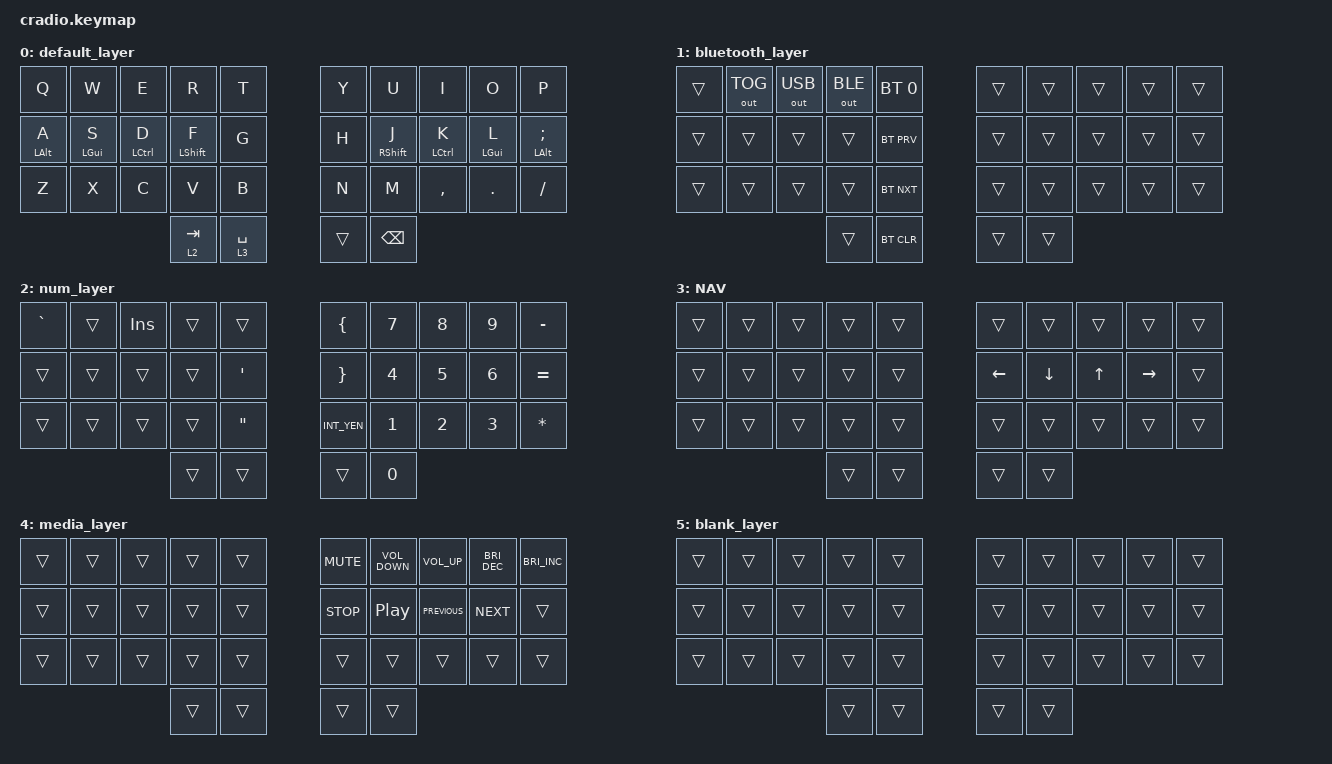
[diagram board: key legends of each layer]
#include <behaviors.dtsi>
#include <dt-bindings/zmk/bt.h>
#include <dt-bindings/zmk/keys.h>
#include <dt-bindings/zmk/outputs.h>

#define QWERTY 0
#define BLUETOOTH 1
#define NUM 2

&mt {
    flavor = "tap-preferred";
    tapping_term_ms = <200>;
};

/ {
    combos {
        compatible = "zmk,combos";

        /*            KEY POSITIONS

          0  1  2  3  4         5  6  7  8  9
         10 11 12 13 14        15 16 17 18 19
         20 21 22 23 24        25 26 27 28 29
                   30 31      32 33             */

        Left_Reset {
            bindings = <&bootloader>;
            key-positions = <0 4 20 24>;
        };

        Right_Reset {
            bindings = <&bootloader>;
            key-positions = <5 9 29 25>;
        };

        Escape {
            bindings = <&kp ESC>;
            key-positions = <1 2>;
        };

        Delete {
            bindings = <&kp DEL>;
            key-positions = <2 3>;
        };

        BluetoothLayer {
            bindings = <&sl 1>;
            key-positions = <4 14 24>;
        };

        Media {
            bindings = <&sl 4>;
            key-positions = <28 26>;
        };

        power {
            bindings = <&kp C_POWER>;
            key-positions = <28 27 26>;
        };

        Enter_left {
            bindings = <&kp ENTER>;
            key-positions = <1 3>;
        };
    };

    keymap {
        compatible = "zmk,keymap";

        default_layer {
            bindings = <
     &kp Q       &kp W        &kp E         &kp R        &kp T     &kp Y         &kp U        &kp I       &kp O          &kp P
&mt LALT A  &mt LGUI S  &mt LCTRL D  &mt LSHIFT F        &kp G     &kp H  &mt RSHIFT J  &mt LCTRL K  &mt LGUI L  &mt LALT SEMI
     &kp Z       &kp X        &kp C         &kp V        &kp B     &kp N         &kp M    &kp COMMA     &kp DOT       &kp FSLH
                                        &lt 2 TAB  &lt 3 SPACE    &trans      &kp BSPC
            >;
        };

        bluetooth_layer {
            bindings = <
&trans  &out OUT_TOG  &out OUT_USB  &out OUT_BLE  &bt BT_SEL 0    &trans  &trans  &trans  &trans  &trans
&trans        &trans        &trans        &trans    &bt BT_PRV    &trans  &trans  &trans  &trans  &trans
&trans        &trans        &trans        &trans    &bt BT_NXT    &trans  &trans  &trans  &trans  &trans
                                          &trans    &bt BT_CLR    &trans  &trans
            >;
        };

        num_layer {
            bindings = <
&kp GRAVE  &trans  &kp INSERT  &trans             &trans     &kp LEFT_BRACE  &kp N7  &kp N8  &kp N9     &kp MINUS
   &trans  &trans      &trans  &trans   &kp SINGLE_QUOTE    &kp RIGHT_BRACE  &kp N4  &kp N5  &kp N6     &kp EQUAL
   &trans  &trans      &trans  &trans  &kp DOUBLE_QUOTES        &kp INT_YEN  &kp N1  &kp N2  &kp N3  &kp ASTERISK
                               &trans             &trans             &trans  &kp N0
            >;
        };

        nav_layer {
            bindings = <
&trans  &trans  &trans  &trans  &trans            &trans          &trans        &trans           &trans  &trans
&trans  &trans  &trans  &trans  &trans    &kp LEFT_ARROW  &kp DOWN_ARROW  &kp UP_ARROW  &kp RIGHT_ARROW  &trans
&trans  &trans  &trans  &trans  &trans            &trans          &trans        &trans           &trans  &trans
                        &trans  &trans            &trans          &trans
            >;

            label = "NAV";
        };

        media_layer {
            bindings = <
&trans  &trans  &trans  &trans  &trans    &kp C_MUTE  &kp C_VOLUME_DOWN  &kp C_VOLUME_UP  &kp C_BRIGHTNESS_DEC  &kp C_BRIGHTNESS_INC
&trans  &trans  &trans  &trans  &trans    &kp C_STOP   &kp C_PLAY_PAUSE   &kp C_PREVIOUS            &kp C_NEXT                &trans
&trans  &trans  &trans  &trans  &trans        &trans             &trans           &trans                &trans                &trans
                        &trans  &trans        &trans             &trans
            >;
        };

        blank_layer {
            bindings = <
&trans  &trans  &trans  &trans  &trans    &trans  &trans  &trans  &trans  &trans
&trans  &trans  &trans  &trans  &trans    &trans  &trans  &trans  &trans  &trans
&trans  &trans  &trans  &trans  &trans    &trans  &trans  &trans  &trans  &trans
                        &trans  &trans    &trans  &trans
            >;
        };
    };
};
